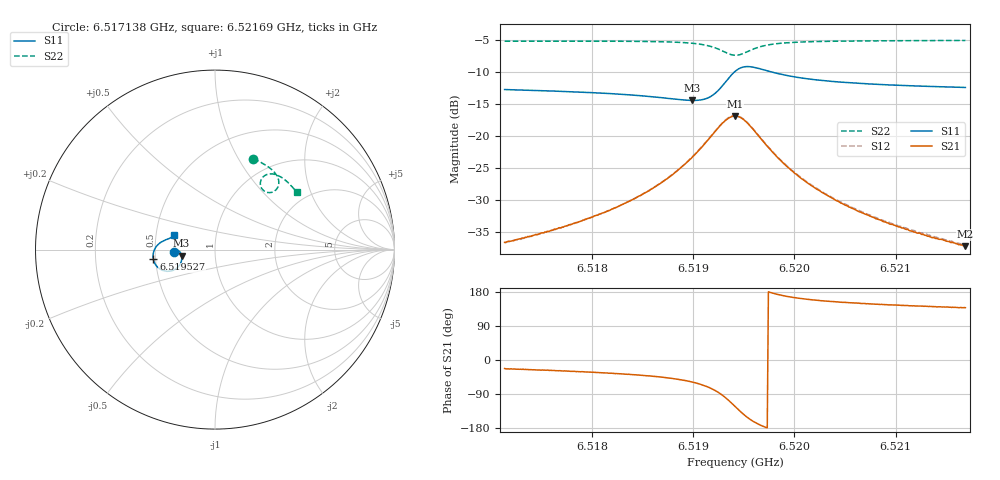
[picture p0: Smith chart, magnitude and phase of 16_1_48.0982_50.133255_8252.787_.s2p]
#  HZ  S  RI  R  50.00
! Rohde & Schwarz Vector Network Analyzer
! Rohde-Schwarz,ZNB20-2Port,1311601062101988,3.16
! Created: UTC 12/23/2023, 3:36:11 AM
! freq[Hz]  re:S11  im:S11  re:S21  im:S21  re:S12  im:S12  re:S22  im:S22
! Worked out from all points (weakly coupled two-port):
!   401 points, 6.517138 GHz to 6.52169 GHz, reference 50 ohm
!   highest |S21| = -16.89 dB at 6.519414 GHz (marker M1); lowest = -37.2 dB at 6.52169 GHz (marker M2)
!   lowest |S11| = -14.5 dB at 6.518993 GHz (marker M3), VSWR 1.47, Z = 34.2 - j2.37 ohm
!   |S11| at or under -10 dB: start of sweep to 6.519409 GHz; 6.519772 GHz to end of sweep
!   |S22| runs from -7.4 to -5.1 dB; largest |S21 - S12| = 0.0044
!   S11 on the Smith chart (normalised r, x): 6.517138 GHz: 0.63, -0.02; 6.519527 GHz: 0.49, -0.06; 6.52169 GHz: 0.62, +0.10
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6.5171378e9  -0.2299 -0.0143  0.0137 -0.00564  0.0137 -0.0053  0.214 0.5053
6.517593e9  -0.2244 -0.00786  0.0163 -0.0084  0.0165 -0.0079  0.2475 0.4902
6.5179002e9  -0.2195 -0.00471  0.0187 -0.0111  0.019 -0.0106  0.2702 0.4778
6.5182985e9  -0.2112 -0.00342  0.0234 -0.0174  0.0239 -0.0167  0.3002 0.4584
6.5186626e9  -0.1997 -0.00868  0.0299 -0.0295  0.031 -0.0286  0.3286 0.4338
6.5188333e9  -0.1927 -0.0173  0.0337 -0.0405  0.0352 -0.0396  0.3418 0.4165
6.5189927e9  -0.1863 -0.0334  0.0361 -0.0582  0.038 -0.0575  0.3526 0.3942
6.5191065e9  -0.1855 -0.0546  0.0333 -0.0787  0.0358 -0.0784  0.3557 0.371
6.5191861e9  -0.1916 -0.0763  0.0242 -0.0985  0.0275 -0.0984  0.3513 0.3506
6.519243e9  -0.2037 -0.0947  0.0109 -0.1141  0.0143 -0.1146  0.3415 0.3352
6.5193227e9  -0.2381 -0.117  -0.0232 -0.1308  -0.0197 -0.1325  0.3149 0.3189
6.5194137e9  -0.298 -0.113  -0.0766 -0.1209  -0.0739 -0.1241  0.273 0.3271
6.5194706e9  -0.3288 -0.0875  -0.1014 -0.0951  -0.0993 -0.0987  0.2561 0.3491
6.5195275e9  -0.3435 -0.054  -0.1107 -0.0645  -0.1097 -0.0682  0.2529 0.3743
6.5196413e9  -0.3374 -0.000306  -0.0994 -0.0193  -0.0997 -0.0224  0.2724 0.4088
6.5197551e9  -0.3176 0.0279  -0.0795 0.00158  -0.0801 -0.000704  0.298 0.4207
6.5199485e9  -0.2903 0.0474  -0.0545 0.0126  -0.0553 0.0112  0.3318 0.4197
6.5201761e9  -0.2706 0.0559  -0.0379 0.0147  -0.0387 0.0138  0.3592 0.409
6.5205403e9  -0.2526 0.0629  -0.0245 0.0134  -0.0253 0.013  0.3899 0.3881
6.5209386e9  -0.2408 0.0686  -0.017 0.0116  -0.0178 0.0114  0.4161 0.3644
6.5213368e9  -0.2321 0.0741  -0.0129 0.0102  -0.0134 0.0101  0.4384 0.3403
6.5216896e9  -0.2258 0.0789  -0.0103 0.00924  -0.0108 0.0092  0.4559 0.3184
